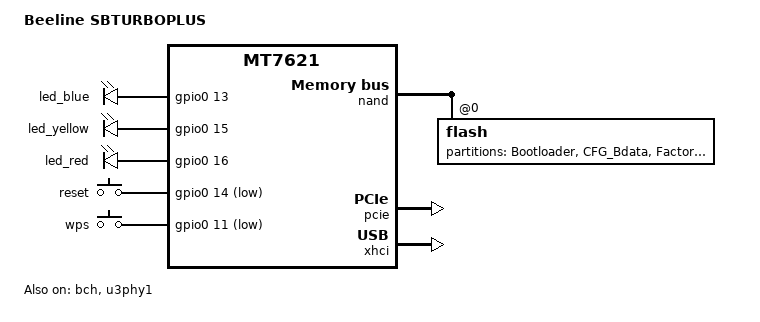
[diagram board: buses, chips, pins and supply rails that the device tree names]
/dts-v1/;

#include "mt7621.dtsi"
#include <dt-bindings/input/input.h>
#include "mt7621-raeth-gmac2.dtsi"
#include "mt7621-pinctrl-default-gpio.dtsi"

/ {
	compatible = "mediatek,mt7621-soc";
	model = "Beeline SBTURBOPLUS";

	chosen {
		bootargs = "console=ttyS0,115200";
	};

	leds {
		compatible = "gpio-leds";

		sys_blue {
			label = "led_blue";
			gpios = <&gpio0 13 GPIO_ACTIVE_HIGH>;
		};

		sys_green {
			label = "led_yellow";
			gpios = <&gpio0 15 GPIO_ACTIVE_HIGH>;
		};

		sys_red {
			label = "led_red";
			gpios = <&gpio0 16 GPIO_ACTIVE_HIGH>;
		};
	};

	gpio-keys-polled {
		compatible = "gpio-keys-polled";
		#address-cells = <1>;
		#size-cells = <0>;
		poll-interval = <20>;

		reset {
			label = "reset";
			gpios = <&gpio0 14 GPIO_ACTIVE_LOW>;
			linux,code = <KEY_RESTART>;
		};
		
		wps {
			label = "wps";
			gpios = <&gpio0 11 GPIO_ACTIVE_LOW>;
			linux,code = <KEY_WPS_BUTTON>;
		};

	};
};

&bch {
	status = "okay";
};

&nand {
	status = "okay";

	flash@0 {
		reg = <0>;
		nand-ecc-mode = "hw";
		partitions {
			compatible = "fixed-partitions";
			#address-cells = <1>;
			#size-cells = <1>;

			partition@0 {
				label = "Bootloader";
				reg = <0x00000 0x80000>; /* 512k */
			};

			partition@80000 {
				label = "CFG_Bdata";
				reg = <0x80000 0x80000>; /* 512k */
			};

			partition@100000 {
				label = "Factory";
				reg = <0x100000 0x80000>; /* 512k */
			};

			partition@180000 {
				label = "Crash";
				reg = <0x180000 0x80000>; /* 512k */
			};
			
			partition@200000 {
				label = "kernel_stock";
				reg = <0x200000 0x400000>;
			
			};
			partition@600000 {
				label = "firmware";
				reg = <0x600000 0x1d00000>;
			};

			partition@2300000 {
				label = "Config";
				reg = <0x2300000 0x80000>; /* 512K */
			};

			partition@2380000 {
				label = "Storage";
				reg = <0x2380000 0x400000>; /* 4096K */
			};

			partition@2780000 {
				label = "RWFS";
				reg = <0x2780000 0x5800000>;
			};

			partition@all {
				label = "ALL";
				reg = <0x0 0x7f80000>;
			};
		};
	};
};

&pcie {
	status = "okay";
};

&xhci {
	status = "okay";
};

&u3phy1 {
	status = "okay";
};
